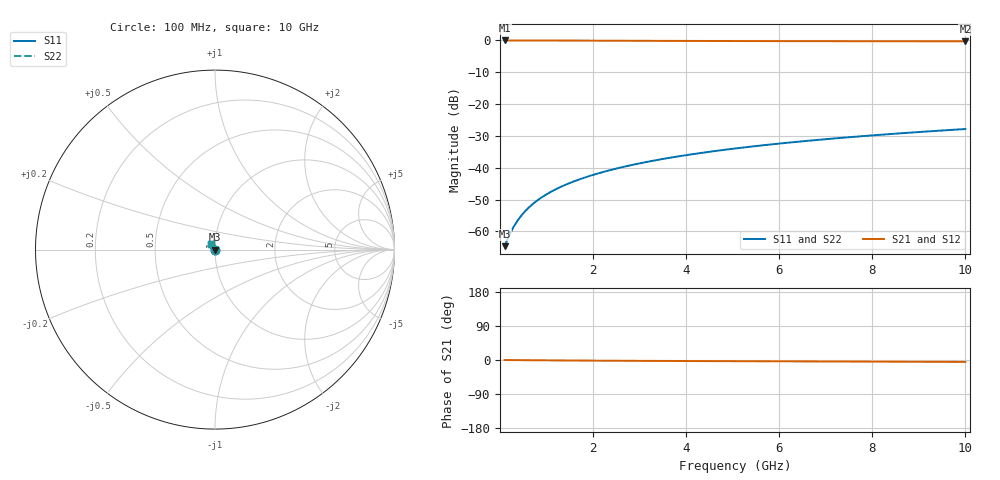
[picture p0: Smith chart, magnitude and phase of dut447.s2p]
! Touchstone file exported from HFSS 2024.1.0
!  File:  C:/UserFiles/LocalFiles/RDL_TSV_Batchsim/temp_TSV1_447_1779695928.aedt
!  Generated:  04:06:26 PM May 25, 2026
!  Design:  TSV1
!  Project:  temp_TSV1_447_1779695928
!  Setup:  Setup1
!  Solution:  Sweep
! Variables:
!  dtsv = 5.23um
!  hbump = 3um
!  htsv = 67.96um
!  lrdl = 252.1521522um
!  p = 40
!  p1 = 59.57um
!  t = 500um
!  trdl = 3um
!  wrdl = 24.89489489um
# GHz S MA R 50.000000
! Terminal data exported
! Port[1] = TSV22_T1
! Port[2] = TSV22_T2
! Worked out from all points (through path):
!   100 points, 100 MHz to 10 GHz, reference 50 ohm
!   highest |S21| = 0.00 dB at 100 MHz (marker M1); lowest = -0.3 dB at 10 GHz (marker M2)
!   lowest |S11| = -64.6 dB at 100 MHz (marker M3), VSWR 1.00, Z = 50 - j0.0395 ohm
!   |S11| at or under -10 dB: start of sweep to end of sweep
!   |S22| runs from -64.6 to -27.8 dB; largest |S21 - S12| = 1.1e-15
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0.1  0.0005866 -42.3  0.9995 -0.1  0.9995 -0.1  0.0005866 -42.3
! Gamma 0 0 0 0
! Port Impedance 50 0 50 0
0.2  0.0008676 -65.2  0.9994 -0.2  0.9994 -0.2  0.0008676 -65.2
0.3  0.001202 -78.0  0.9993 -0.3  0.9993 -0.3  0.001202 -78.0
0.4  0.001559 -86.5  0.9992 -0.4  0.9992 -0.4  0.001559 -86.5
0.5  0.001927 -92.9  0.999 -0.5  0.999 -0.5  0.001927 -92.9
0.6  0.002301 -98.3  0.9987 -0.6  0.9987 -0.6  0.002301 -98.3
0.7  0.002679 -103.0  0.9984 -0.6  0.9984 -0.6  0.002679 -103.0
0.9  0.003441 -111.2  0.9978 -0.8  0.9978 -0.8  0.003441 -111.2
1  0.003825 -114.9  0.9974 -0.9  0.9974 -0.9  0.003825 -114.9
1.2  0.004596 -121.8  0.9966 -1.1  0.9966 -1.1  0.004596 -121.8
1.5  0.005761 -131.3  0.9952 -1.3  0.9952 -1.3  0.005761 -131.3
1.8  0.006936 -139.9  0.9936 -1.5  0.9936 -1.5  0.006936 -139.9
2.1  0.00812 -147.8  0.992 -1.7  0.992 -1.7  0.00812 -147.8
2.5  0.009711 -157.5  0.9898 -2.0  0.9898 -2.0  0.009711 -157.5
2.9  0.01132 -166.1  0.9877 -2.2  0.9877 -2.2  0.01132 -166.1
3.4  0.01334 -175.6  0.9852 -2.4  0.9852 -2.4  0.01334 -175.6
4.2  0.01659 171.7  0.9817 -2.8  0.9817 -2.8  0.01659 171.7
5.1  0.02028 160.3  0.9786 -3.2  0.9786 -3.2  0.02028 160.3
5.9  0.02357 152.2  0.9763 -3.5  0.9763 -3.5  0.02357 152.2
6.7  0.02687 145.5  0.9745 -3.8  0.9745 -3.8  0.02687 145.5
8.4  0.03391 134.5  0.9715 -4.4  0.9715 -4.4  0.03391 134.5
10  0.04058 126.9  0.9695 -5.1  0.9695 -5.1  0.04058 126.9
